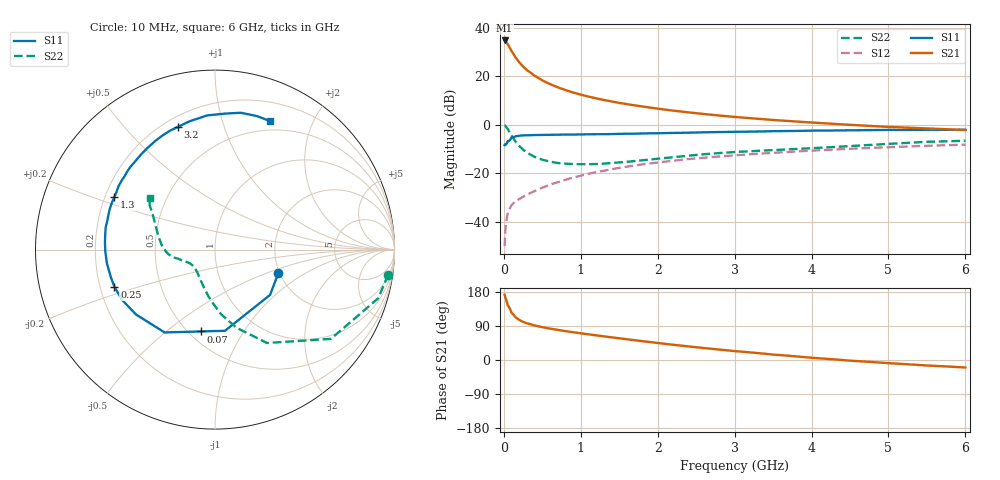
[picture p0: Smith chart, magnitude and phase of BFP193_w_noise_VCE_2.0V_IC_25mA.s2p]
! Infineon Technologies  Discrete & RF Semiconductors
! BFP193
! VCE =  2.0 V,  IC =  25 mA
! Common Emitter S-Parameters:  Jan 2017
# GHz  S  MA  R  50
!  f  S11  S21  S12  S22
! GHz  MAG  ANG  MAG  ANG  MAG  ANG  MAG  ANG
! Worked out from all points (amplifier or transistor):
!   77 points, 10 MHz to 6 GHz, reference 50 ohm
!   highest |S21| = 34.7 dB at 10 MHz (marker M1)
!   |S21| within 3 dB of that: start of sweep to 76.21 MHz
!   unconditionally stable (mu >= 1): 736.4 MHz to 2.575 GHz
!   at 130 MHz: K = 0.45, MSG = 30.6 dB, |S12| = -32.3 dB
!   at 2.2 GHz: K = 1.02, MAG = 9.5 dB, |S12| = -14.9 dB
!   at 6 GHz: K = 0.94, MSG = 3.0 dB, |S12| = -8.3 dB
!   lowest NFmin = 1.12 dB at 450 MHz
!   S11 on the Smith chart (normalised r, x): 10 MHz: 1.97, -0.60; 70 MHz: 0.57, -0.66; 250 MHz: 0.26, -0.17; 1.3 GHz: 0.24, +0.23; 3.2 GHz: 0.25, +0.71; 6 GHz: 0.40, +1.44
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0.01  0.3765 -20.4  54.2 172.2  0.0031 86.8  0.9752 -8.2
0.02  0.3973 -39.4  53.36 164.8  0.0068 79.4  0.9487 -16.6
0.05  0.4557 -83.0  45.61 145.1  0.0148 67.2  0.8152 -37.6
0.07  0.4628 -99.8  39.98 138.5  0.0175 61.5  0.7141 -45.2
0.1  0.5402 -121.3  32.96 124.6  0.0218 55.7  0.5955 -60.9
0.15  0.5694 -140.5  24.44 113.1  0.026 50.8  0.4499 -74.8
0.2  0.5888 -151.6  19.21 105.9  0.0291 51.9  0.362 -84.6
0.25  0.5974 -159.6  15.71 100.5  0.0323 52.7  0.3038 -91.5
0.3  0.6002 -164.9  13.25 96.9  0.0356 54.4  0.2632 -97.9
0.4  0.6072 -172.8  10.12 91.0  0.0424 57.0  0.215 -107.5
0.5  0.611 -178.9  8.139 86.6  0.0498 58.8  0.1882 -115.2
0.6  0.6143 176.4  6.83 82.8  0.0574 60.5  0.1716 -122.2
0.7  0.617 172.6  5.865 79.6  0.0646 61.6  0.1608 -127.6
0.9  0.6212 165.0  4.578 73.3  0.0807 61.7  0.1533 -136.4
1.1  0.6289 158.5  3.777 67.8  0.0966 61.0  0.1521 -143.2
1.3  0.6322 152.6  3.209 62.4  0.1113 59.8  0.1567 -148.8
2.1  0.6659 130.4  2.03 42.6  0.1719 51.5  0.2043 -164.6
3.1  0.7112 108.6  1.394 21.9  0.2373 39.3  0.276 -178.6
3.2  0.7144 106.8  1.354 20.1  0.2431 38.1  0.281 179.8
4.1  0.7498 91.9  1.077 4.5  0.2942 27.7  0.3312 164.6
5.1  0.7759 78.0  0.881 -9.5  0.3456 16.3  0.4072 149.4
6  0.7791 66.8  0.772 -19.8  0.3853 6.4  0.4627 141.8
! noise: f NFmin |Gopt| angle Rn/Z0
0.45  1.12  0.3  -176  0.36
0.9  1.19  0.37  -175  0.07
1.9  1.81  0.57  -138  0.16
2.4  2.15  0.62  -122  0.35
